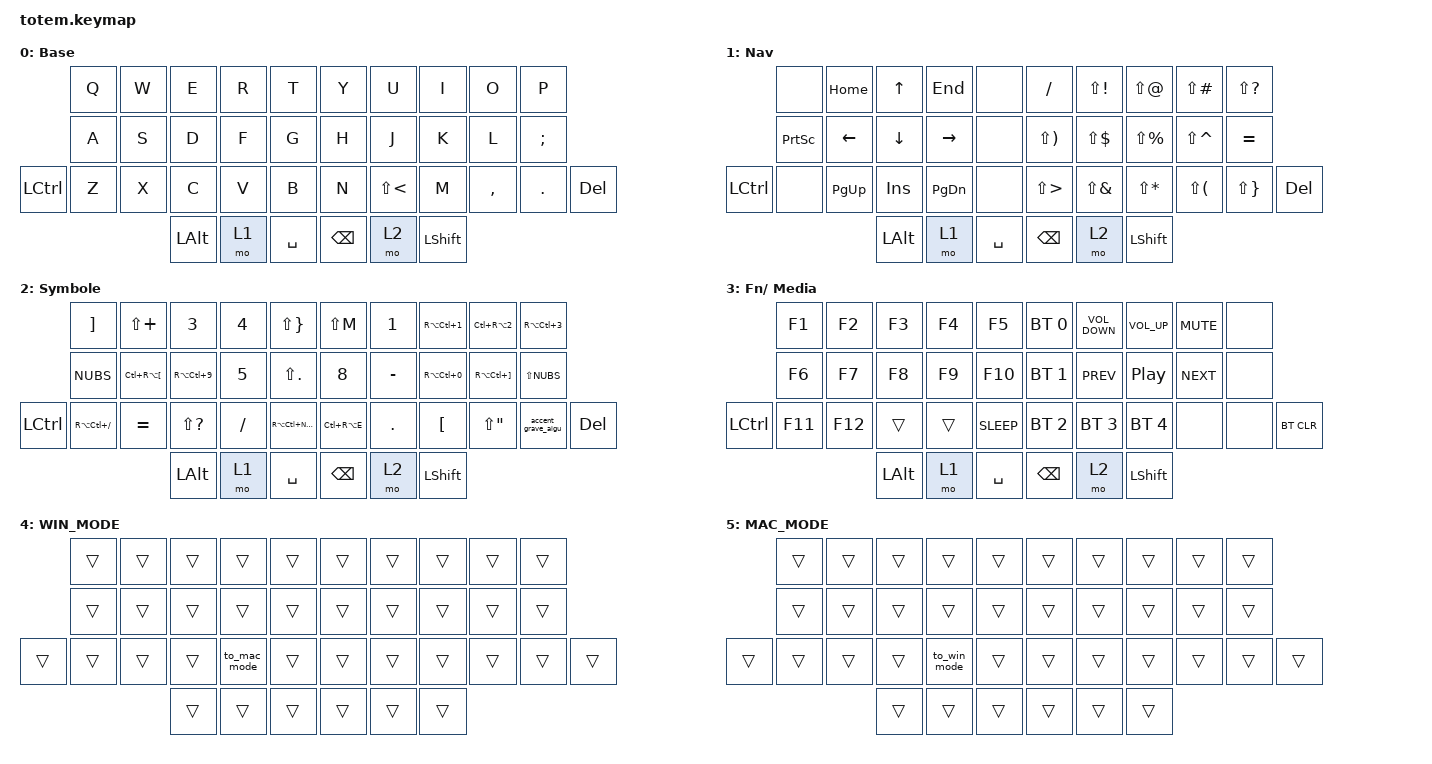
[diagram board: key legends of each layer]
#include <behaviors.dtsi>
#include <dt-bindings/zmk/bt.h>
#include <dt-bindings/zmk/keys.h>

/ {
    combos {
        compatible = "zmk,combos";

        Esc {
            bindings = <&kp ESC>;
            key-positions = <11 10>;
        };

        Tab {
            bindings = <&kp TAB>;
            key-positions = <13 12>;
        };

        Enter {
            bindings = <&kp ENTER>;
            key-positions = <16 17>;
        };

        Windows {
            bindings = <&kp LEFT_WIN>;
            key-positions = <18 19>;
        };

        Bt_Disc0 {
            bindings = <&bt BT_DISC 0>;
            key-positions = <5 20>;
            layers = <3>;
        };

        BT_Disc1 {
            bindings = <&bt BT_DISC 1>;
            key-positions = <20 15>;
            layers = <3>;
        };

        BT_Disc2 {
            bindings = <&bt BT_DISC 2>;
            key-positions = <20 26>;
            layers = <3>;
        };

        BT_Disc3 {
            bindings = <&bt BT_DISC 3>;
            key-positions = <20 27>;
            layers = <3>;
        };

        BT_Disc4 {
            bindings = <&bt BT_DISC 4>;
            key-positions = <20 28>;
            layers = <3>;
        };
    };

    behaviors {
        accent_grave_aigu: accent_grave_aigu {
            compatible = "zmk,behavior-mod-morph";
            label = "ACCENT_GRAVE_AIGU";
            bindings = <&kp RA(LC(NUHS))>, <&kp RA(SQT)>;
            #binding-cells = <0>;
            mods = <(MOD_LCTL)>;
        };

        /* --- OS mode switch macros (mutually exclusive Win <-> Mac) --- */
        to_win_mode: to_win_mode {
            compatible = "zmk,behavior-macro";
            label = "TO_WIN_MODE";
            #binding-cells = <0>;
            /* Turn Mac OFF then Win ON (or just turn Win ON if none active). */
            bindings = <&tog 5>, <&tog 4>;
        };

        to_mac_mode: to_mac_mode {
            compatible = "zmk,behavior-macro";
            label = "TO_MAC_MODE";
            #binding-cells = <0>;
            /* Turn Win OFF then Mac ON (or just turn Mac ON if none active). */
            bindings = <&tog 4>, <&tog 5>;
        };
    };

    keymap {
        compatible = "zmk,keymap";

        /* 0 */
        base_layer {
            bindings = <
           &kp Q  &kp W  &kp E     &kp R  &kp T        &kp Y     &kp U       &kp I      &kp O      &kp P
           &kp A  &kp S  &kp D     &kp F  &kp G        &kp H     &kp J       &kp K      &kp L      &kp SEMI
&kp LCTRL  &kp Z  &kp X  &kp C     &kp V  &kp B        &kp N     &kp LS(LT)  &kp M      &kp COMMA  &kp DOT   &kp DEL
                         &kp LALT  &mo 1  &kp SPACE    &kp BSPC  &mo 2       &kp LSHFT
            >;

            label = "Base";
        };

        /* 1 */
        nav_layer {
            bindings = <
           &none            &kp HOME   &kp UP    &kp END    &none        &kp FSLH      &kp LS(EXCL)  &kp LS(AT)     &kp LS(POUND)  &kp LS(QMARK)
           &kp PRINTSCREEN  &kp LEFT   &kp DOWN  &kp RIGHT  &none        &kp LS(RPAR)  &kp LS(DLLR)  &kp LS(PRCNT)  &kp LS(CARET)  &kp EQUAL
&kp LCTRL  &none            &kp PG_UP  &kp INS   &kp PG_DN  &none        &kp LS(GT)    &kp LS(AMPS)  &kp LS(STAR)   &kp LS(LPAR)   &kp LS(RBRC)   &kp DEL
                                       &kp LALT  &mo 1      &kp SPACE    &kp BSPC      &mo 2         &kp LSHFT
            >;

            label = "Nav";
        };

        /* 2 */
        symb_layer {
            bindings = <
           &kp RBKT           &kp LS(PLUS)              &kp N3          &kp N4    &kp LS(RBRC)        &kp LS(M)      &kp N1     &kp RA(LC(N1))    &kp LC(RA(N2))             &kp RA(LC(N3))
           &kp NUBS           &kp LC(RA(LEFT_BRACKET))  &kp RA(LC(N9))  &kp N5    &kp LS(DOT)         &kp N8         &kp MINUS  &kp RA(LC(N0))    &kp RA(LC(RIGHT_BRACKET))  &kp LS(NUBS)
&kp LCTRL  &kp RA(LC(SLASH))  &kp EQUAL                 &kp LS(QMARK)   &kp FSLH  &kp RA(LC(NUBS))    &kp LC(RA(E))  &kp DOT    &kp LEFT_BRACKET  &kp LS(DQT)                &accent_grave_aigu  &kp DEL
                                                        &kp LALT        &mo 1     &kp SPACE           &kp BSPC       &mo 2      &kp LSHFT
            >;

            label = "Symbole";
        };

        /* 3 */
        fn_layer {
            bindings = <
           &kp F1   &kp F2   &kp F3    &kp F4  &kp F5         &bt BT_SEL 0  &kp C_VOLUME_DOWN  &kp C_VOLUME_UP   &kp C_MUTE  &none
           &kp F6   &kp F7   &kp F8    &kp F9  &kp F10        &bt BT_SEL 1  &kp C_PREV         &kp C_PLAY_PAUSE  &kp C_NEXT  &none
&kp LCTRL  &kp F11  &kp F12  &trans  &trans  &kp C_SLEEP    &bt BT_SEL 2  &bt BT_SEL 3       &bt BT_SEL 4      &none       &none  &bt BT_CLR
                             &kp LALT  &mo 1     &kp SPACE      &kp BSPC      &mo 2              &kp LSHFT
            >;

            label = "Fn/ Media";
        };

        /* 4 — WIN_MODE (flag layer; overlays only the OS switch key) */
        win_mode {
            label = "WIN_MODE";
            bindings = <
                &trans &trans &trans   &trans &trans         &trans &trans &trans &trans &trans
                &trans &trans &trans   &trans &trans         &trans &trans &trans &trans &trans
&trans          &trans &trans &trans   &to_mac_mode &trans    &trans &trans &trans &trans &trans &trans
                                   &trans &trans &trans       &trans &trans &trans
            >;
        };

        /* 5 — MAC_MODE (flag layer; overlays only the OS switch key) */
        mac_mode {
            label = "MAC_MODE";
            bindings = <
                &trans &trans &trans   &trans &trans         &trans &trans &trans &trans &trans
                &trans &trans &trans   &trans &trans         &trans &trans &trans &trans &trans
&trans          &trans &trans &trans   &to_win_mode &trans    &trans &trans &trans &trans &trans &trans
                                   &trans &trans &trans       &trans &trans &trans
            >;
        };
    };

    conditional_layers {
        compatible = "zmk,conditional-layers";

        /* inchangé : Fn auto quand Nav ou Symb actifs */
        Layer_FN {
            if-layers = <1 2>;
            then-layer = <3>;
        };
    };
};
